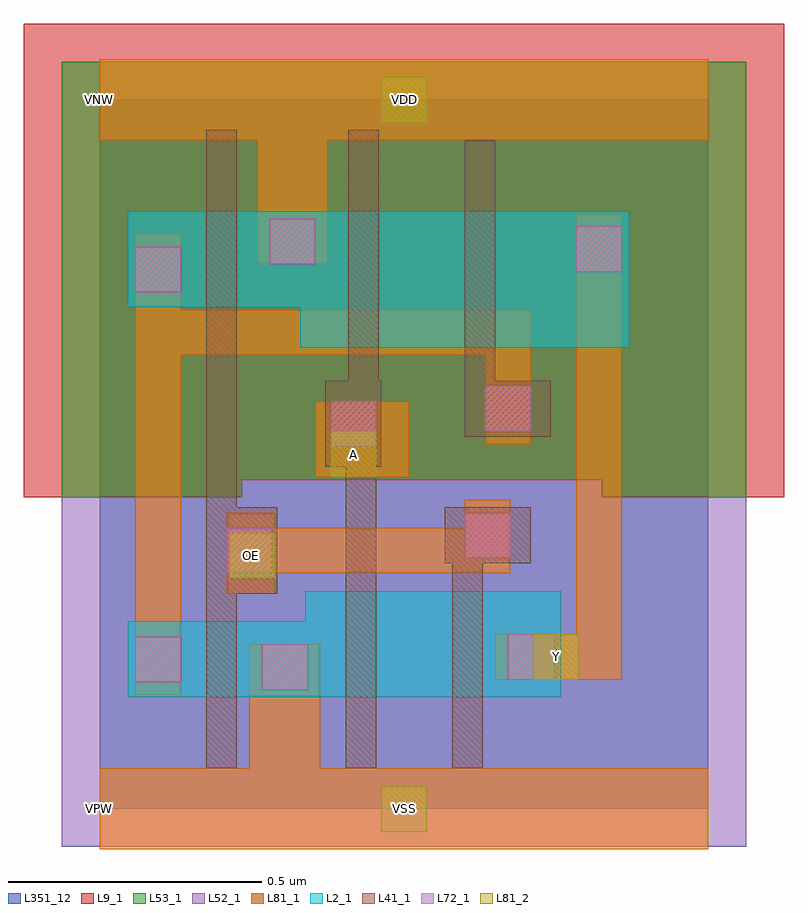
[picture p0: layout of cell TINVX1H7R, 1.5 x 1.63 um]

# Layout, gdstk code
import gdstk
lib = gdstk.Library(unit=1e-6, precision=1e-09)
def R(c, l, rs):  # rectangles x0, y0, x1, y1
    for r in rs: c.add(gdstk.rectangle(r[:2], r[2:], *l))
def P(c, l, *ps):  # polygons
    for p in ps: c.add(gdstk.Polygon(p, *l))
L2_1 = (2, 1)
L9_1 = (9, 1)
L41_1 = (41, 1)
L52_1 = (52, 1)
L53_1 = (53, 1)
L72_1 = (72, 1)
L81_1 = (81, 1)
L81_2 = (81, 2)
L351_12 = (351, 12)

tinvx1h7r = lib.new_cell('TINVX1H7R')
P(tinvx1h7r, L2_1, [(0.395,0.91),(0.395,0.99),(0.055,0.99),(0.055,1.18),(1.045,1.18),(1.045,0.91)],
  [(0.055,0.22),(0.055,0.37),(0.405,0.37),(0.405,0.43),(0.91,0.43),(0.91,0.22)])
P(tinvx1h7r, L9_1, [(-0.15,0.615),(-0.15,1.55),(1.35,1.55),(1.35,0.615),(0.99,0.615),(0.99,0.65),(0.28,0.65),(0.28,0.615)])
P(tinvx1h7r, L41_1, [(0.21,0.08),(0.21,1.34),(0.27,1.34),(0.27,0.595),(0.35,0.595),(0.35,0.425),(0.27,0.425),(0.27,0.08)],
  [(0.485,0.08),(0.485,0.675),(0.445,0.675),(0.445,0.845),(0.49,0.845),(0.49,1.34),(0.55,1.34),(0.55,0.845),(0.555,0.845),(0.555,0.675),(0.545,0.675),(0.545,0.08)],
  [(0.695,0.08),(0.695,0.485),(0.68,0.485),(0.68,0.595),(0.85,0.595),(0.85,0.485),(0.755,0.485),(0.755,0.08)],
  [(0.72,0.735),(0.72,1.32),(0.78,1.32),(0.78,0.845),(0.89,0.845),(0.89,0.735)])
P(tinvx1h7r, L52_1, [(-0.075,-0.075),(-0.075,0.615),(0.28,0.615),(0.28,0.65),(0.99,0.65),(0.99,0.615),(1.275,0.615),(1.275,-0.075)])
P(tinvx1h7r, L53_1, [(-0.075,0.615),(-0.075,1.475),(1.275,1.475),(1.275,0.615),(0.99,0.615),(0.99,0.65),(0.28,0.65),(0.28,0.615)])
R(tinvx1h7r, L72_1, [(0.32,0.235,0.41,0.325), (0.07,0.25,0.16,0.34), (0.805,0.255,0.895,0.345), (0.25,0.465,0.34,0.555), (0.72,0.495,0.81,0.585), (0.455,0.715,0.545,0.805), (0.76,0.745,0.85,0.835), (0.07,1.02,0.16,1.11), (0.94,1.06,1.03,1.15), (0.335,1.075,0.425,1.165)])
R(tinvx1h7r, L81_1, [(0.555,-0.045,0.645,0.045), (0.555,-0.045,0.645,0.045), (0.855,0.255,0.945,0.345), (0.855,0.255,0.945,0.345), (0.255,0.455,0.345,0.545), (0.255,0.455,0.345,0.545), (0.425,0.655,0.61,0.805), (0.455,0.655,0.545,0.745), (0.455,0.655,0.545,0.745), (0.555,1.355,0.645,1.445), (0.555,1.355,0.645,1.445)])
P(tinvx1h7r, L81_1, [(0.31,1.075),(0.31,1.32),(0,1.32),(0,1.48),(1.2,1.48),(1.2,1.32),(0.45,1.32),(0.45,1.075)],
  [(0,-0.08),(0,0.08),(0.295,0.08),(0.295,0.325),(0.435,0.325),(0.435,0.08),(1.2,0.08),(1.2,-0.08)],
  [(0.25,0.425),(0.25,0.585),(0.345,0.585),(0.345,0.555),(0.72,0.555),(0.72,0.61),(0.81,0.61),(0.81,0.465),(0.345,0.465),(0.345,0.425)],
  [(0.07,0.225),(0.07,1.135),(0.16,1.135),(0.16,0.985),(0.85,0.985),(0.85,0.72),(0.76,0.72),(0.76,0.895),(0.16,0.895),(0.16,0.225)],
  [(0.78,0.255),(0.78,0.345),(0.94,0.345),(0.94,1.175),(1.03,1.175),(1.03,0.255)])
R(tinvx1h7r, L81_2, [(0.555,-0.045,0.645,0.045), (0.855,0.255,0.945,0.345), (0.255,0.455,0.345,0.545), (0.455,0.655,0.545,0.745), (0.555,1.355,0.645,1.445)])
R(tinvx1h7r, L351_12, [(0,0,1.2,1.4)])
tinvx1h7r.add(gdstk.Label('VDD', (0.6,1.4), layer=81, texttype=6))
tinvx1h7r.add(gdstk.Label('Y', (0.9,0.3), layer=81, texttype=6))
tinvx1h7r.add(gdstk.Label('A', (0.5,0.7), layer=81, texttype=6))
tinvx1h7r.add(gdstk.Label('OE', (0.3,0.5), layer=81, texttype=6))
tinvx1h7r.add(gdstk.Label('VSS', (0.6,0), layer=81, texttype=6))
tinvx1h7r.add(gdstk.Label('VDD', (0.6,1.4), layer=81, texttype=2))
tinvx1h7r.add(gdstk.Label('Y', (0.9,0.3), layer=81, texttype=2))
tinvx1h7r.add(gdstk.Label('A', (0.5,0.7), layer=81, texttype=2))
tinvx1h7r.add(gdstk.Label('OE', (0.3,0.5), layer=81, texttype=2))
tinvx1h7r.add(gdstk.Label('VSS', (0.6,0), layer=81, texttype=2))
tinvx1h7r.add(gdstk.Label('VPW', (0,0), layer=261, texttype=12))
tinvx1h7r.add(gdstk.Label('VNW', (0,1.4), layer=9, texttype=1))
tinvx1h7r.add(gdstk.Label('in', (0.5,0.7), layer=81, texttype=6))
tinvx1h7r.add(gdstk.Label('out', (0.9,0.3), layer=81, texttype=6))
tinvx1h7r.add(gdstk.Label('en', (0.3,0.5), layer=81, texttype=6))
tinvx1h7r.add(gdstk.Label('vdd', (0.6,1.4), layer=81, texttype=6))
tinvx1h7r.add(gdstk.Label('gnd', (0.6,0), layer=81, texttype=6))
tinvx1h7r.add(gdstk.Label('in', (0.5,0.7), layer=81, texttype=6))
tinvx1h7r.add(gdstk.Label('out', (0.9,0.3), layer=81, texttype=6))
tinvx1h7r.add(gdstk.Label('en', (0.3,0.5), layer=81, texttype=6))
tinvx1h7r.add(gdstk.Label('vdd', (0.6,1.4), layer=81, texttype=6))
tinvx1h7r.add(gdstk.Label('gnd', (0.6,0), layer=81, texttype=6))

lib.write_gds('TINVX1H7R.gds')
